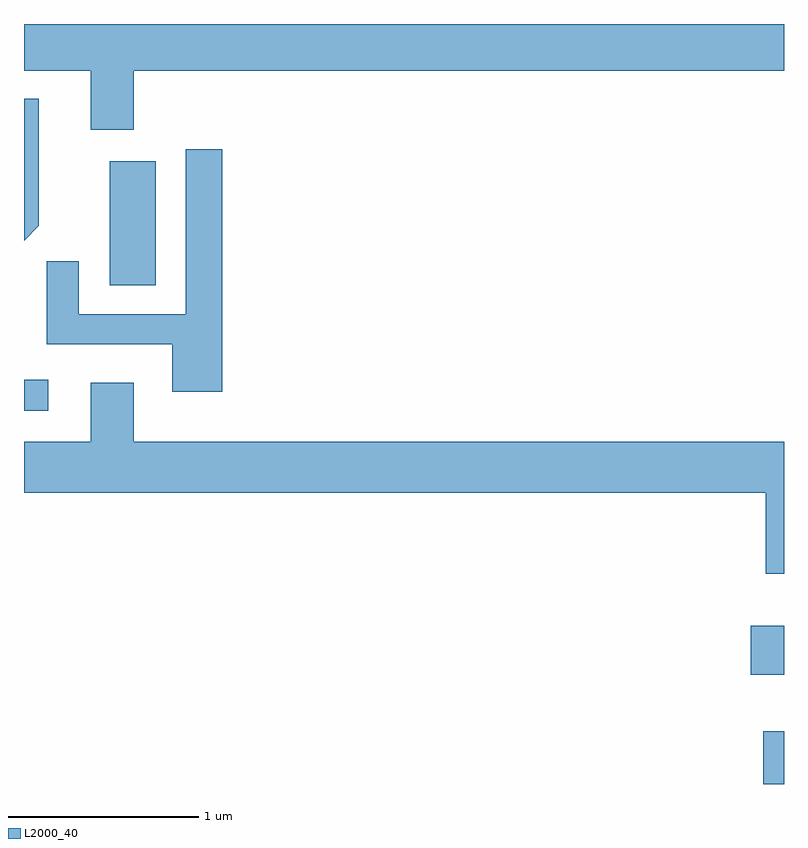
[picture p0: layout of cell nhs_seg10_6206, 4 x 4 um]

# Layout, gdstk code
import gdstk
lib = gdstk.Library(unit=1e-6, precision=1e-09)
def R(c, l, rs):  # rectangles x0, y0, x1, y1
    for r in rs: c.add(gdstk.rectangle(r[:2], r[2:], *l))
def P(c, l, *ps):  # polygons
    for p in ps: c.add(gdstk.Polygon(p, *l))
L2000_40 = (2000, 40)

nhs_seg10_6206 = lib.new_cell('nhs_seg10_6206')
R(nhs_seg10_6206, L2000_40, [(371.501,2194.522,371.611,2194.799), (371.436,2195.096,371.611,2195.354), (367.611,2196.486,367.738,2196.649), (368.061,2197.146,368.304,2197.799)])
P(nhs_seg10_6206, L2000_40, [(368.189,2198.276),(371.611,2198.276),(371.611,2198.522),(367.611,2198.522),(367.611,2198.276),(367.961,2198.276),(367.961,2197.966),(368.189,2197.966)],
  [(367.689,2197.459),(367.689,2198.128),(367.611,2198.128),(367.611,2197.381)],
  [(368.654,2197.864),(368.461,2197.864),(368.461,2196.994),(367.899,2196.994),(367.899,2197.273),(367.731,2197.273),(367.731,2196.836),(368.391,2196.836),(368.391,2196.586),(368.654,2196.586)],
  [(371.611,2196.324),(368.189,2196.324),(368.189,2196.634),(367.961,2196.634),(367.961,2196.324),(367.611,2196.324),(367.611,2196.056),(371.516,2196.056),(371.516,2195.628),(371.611,2195.628)])

lib.write_gds('nhs_seg10_6206.gds')
